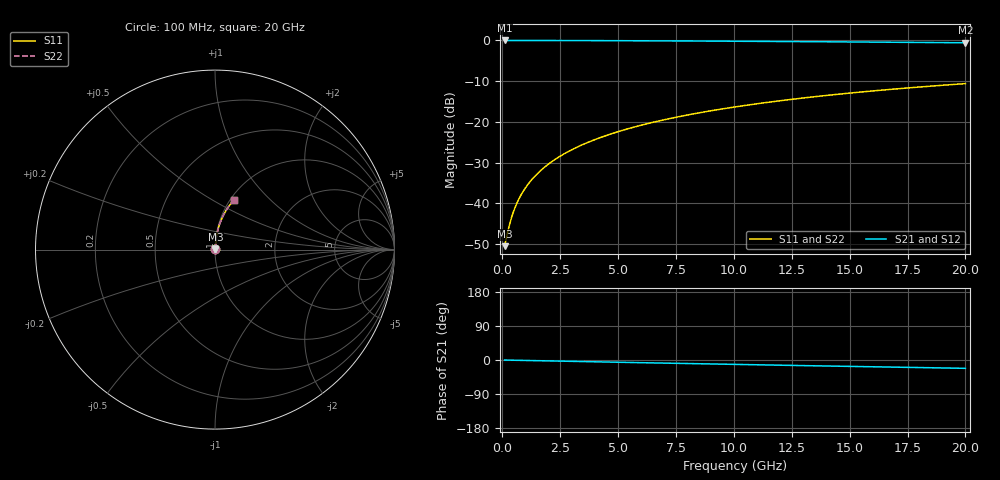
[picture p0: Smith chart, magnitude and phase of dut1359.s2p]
! Touchstone file exported from HFSS 2024.1.0
!  File:  C:/UserFiles/LocalFiles/RDL_TSV_Batchsim/temp_RDL_top_1359_1780366524.aedt
!  Generated:  10:17:26 AM Jun  2, 2026
!  Design:  RDL_top
!  Project:  temp_RDL_top_1359_1780366524
!  Setup:  Setup1
!  Solution:  Sweep
! Variables:
!  dtsv = 10.80580581um
!  hbump = 3um
!  htsv = 60.65um
!  ldown = 100um
!  lrdl = 223.75um
!  p = 40
!  p1 = 52um
!  rhole = 1um
!  t = 450um
!  tdown = 3.915915916um
!  trdl = 3um
!  wdown = 15.38538539um
!  wrdl = 10.99um
# GHz S MA R 50.000000
! Terminal data exported
! Port[1] = Box2_T1
! Port[2] = Box2_T2
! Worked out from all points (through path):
!   200 points, 100 MHz to 20 GHz, reference 50 ohm
!   highest |S21| = -0.02 dB at 100 MHz (marker M1); lowest = -0.6 dB at 20 GHz (marker M2)
!   group delay of S21, straight-line fit = 3.05 ps
!   lowest |S11| = -50.5 dB at 100 MHz (marker M3), VSWR 1.01, Z = 50.3 + j0.157 ohm
!   |S11| at or under -10 dB: start of sweep to end of sweep
!   |S22| runs from -50.5 to -10.6 dB; largest |S21 - S12| = 2.7e-15
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0.1  0.002995 31.3  0.9974 -0.1  0.9974 -0.1  0.002995 31.3
! Gamma 0 0 0 0
! Port Impedance 50 0 50 0
0.3  0.005342 60.6  0.9974 -0.4  0.9974 -0.4  0.005342 60.6
0.4  0.006739 66.6  0.9973 -0.5  0.9973 -0.5  0.006739 66.6
0.5  0.008178 70.5  0.9973 -0.6  0.9973 -0.6  0.008178 70.5
0.6  0.009637 73.2  0.9972 -0.7  0.9972 -0.7  0.009637 73.2
0.8  0.01258 76.7  0.9971 -1.0  0.9971 -1.0  0.01258 76.7
1.1  0.01703 79.5  0.9969 -1.3  0.9969 -1.3  0.01703 79.5
1.3  0.02001 80.7  0.9967 -1.6  0.9967 -1.6  0.02001 80.7
1.5  0.023 81.6  0.9965 -1.8  0.9965 -1.8  0.023 81.6
1.8  0.02749 82.4  0.9963 -2.2  0.9963 -2.2  0.02749 82.4
2.1  0.032 83.0  0.996 -2.5  0.996 -2.5  0.032 83.0
2.7  0.04104 83.6  0.9952 -3.2  0.9952 -3.2  0.04104 83.6
3.5  0.05314 83.7  0.994 -4.2  0.994 -4.2  0.05314 83.7
4.2  0.06376 83.6  0.9927 -5.0  0.9927 -5.0  0.06376 83.6
5  0.07593 83.3  0.991 -5.9  0.991 -5.9  0.07593 83.3
5.9  0.08965 82.7  0.9889 -7.0  0.9889 -7.0  0.08965 82.7
6.8  0.1034 82.1  0.9865 -8.0  0.9865 -8.0  0.1034 82.1
8.3  0.1262 80.8  0.982 -9.7  0.982 -9.7  0.1262 80.8
10.1  0.1535 79.1  0.976 -11.7  0.976 -11.7  0.1535 79.1
13.4  0.2025 75.9  0.9636 -15.2  0.9636 -15.2  0.2025 75.9
16.7  0.2498 72.5  0.9497 -18.7  0.9497 -18.7  0.2498 72.5
20  0.2949 69.2  0.9345 -22.0  0.9345 -22.0  0.2949 69.2
